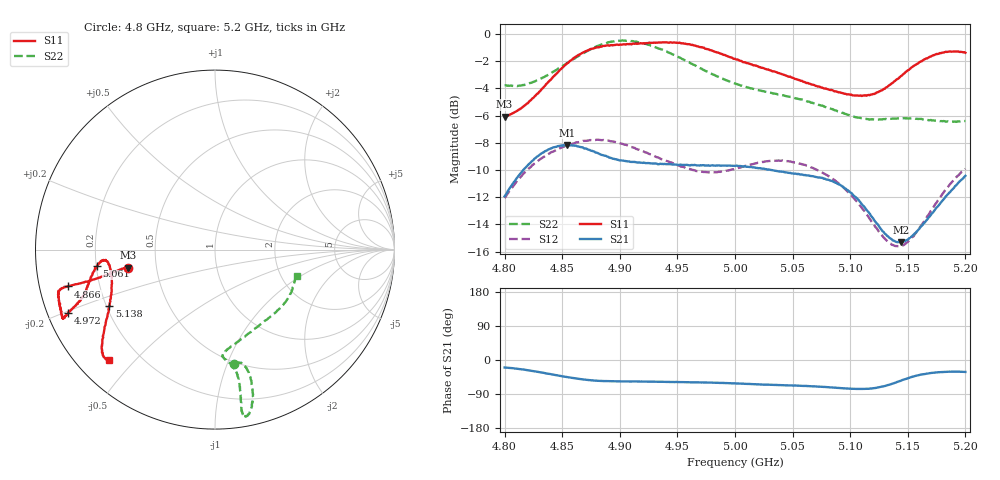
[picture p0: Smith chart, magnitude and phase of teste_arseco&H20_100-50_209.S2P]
! Network Analyzer HP8722D
! Hewlett-Packard
! Data name: Linha & Wilkinson
! Saver's name: Rodrigo Anjos
! Comments: Teste da utilização de aquisição
! continua pelo VNA HP8722D
! Time and date: 6/5/2025 14:18
!  Frequency  S11  S21  S12  S22
# HZ  S  MA R 50
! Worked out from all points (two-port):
!   401 points, 4.8 GHz to 5.2 GHz, reference 50 ohm
!   highest |S21| = -8.16 dB at 4.854 GHz (marker M1); lowest = -15.3 dB at 5.144 GHz (marker M2)
!   |S21| within 3 dB of the highest: 4.806 GHz to 5.092 GHz (286.4 MHz wide, 5.79 % of centre); 5.19159 GHz to end of sweep
!   lowest |S11| = -6.1 dB at 4.8 GHz (marker M3), VSWR 2.97, Z = 17 - j4.57 ohm
!   |S11| at or under -10 dB: nowhere
!   |S22| runs from -6.5 to -0.5 dB; largest |S21 - S12| = 0.62
!   S11 on the Smith chart (normalised r, x): 4.8 GHz: 0.34, -0.09; 4.866 GHz: 0.09, -0.12; 4.972 GHz: 0.06, -0.21; 5.061 GHz: 0.20, -0.07; 5.138 GHz: 0.21, -0.24; 5.2 GHz: 0.09, -0.42
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4.8e9  0.4968 -168.2  0.253 -19.8  0.2493 -141.0  0.6471 -80.4
4.828e9  0.601 -167.2  0.3536 -30.9  0.339 -145.0  0.6754 -75.4
4.854e9  0.7776 -166.0  0.391 -45.1  0.3893 -149.9  0.7791 -74.8
4.866e9  0.844 -165.9  0.3839 -50.4  0.402 -152.0  0.8379 -75.4
4.867e9  0.8498 -166.0  0.3835 -50.9  0.4026 -152.2  0.8427 -75.5
4.886e9  0.903 -165.1  0.3578 -55.5  0.4073 -155.3  0.9202 -77.6
4.901e9  0.9122 -162.5  0.343 -56.4  0.3954 -156.8  0.9444 -79.3
4.934e9  0.9297 -156.6  0.3322 -57.6  0.3503 -155.8  0.882 -80.5
4.972e9  0.8908 -156.5  0.3292 -59.1  0.311 -146.4  0.7386 -79.8
5e9  0.8097 -159.1  0.3273 -61.9  0.3197 -137.3  0.6567 -81.3
5.036e9  0.7231 -165.6  0.3138 -66.0  0.3423 -134.5  0.6015 -85.7
5.061e9  0.6636 -172.0  0.303 -68.4  0.33 -136.4  0.5691 -84.0
5.067e9  0.6504 -173.1  0.3002 -69.3  0.3225 -136.8  0.5587 -82.6
5.087e9  0.6145 -174.5  0.2841 -73.2  0.2891 -138.7  0.5231 -74.8
5.103e9  0.5942 -171.5  0.2546 -76.1  0.2495 -138.7  0.4969 -65.2
5.117e9  0.5953 -164.9  0.2184 -75.4  0.2089 -135.0  0.4841 -55.0
5.134e9  0.648 -154.4  0.1781 -65.1  0.1705 -120.8  0.4869 -43.3
5.138e9  0.6672 -152.0  0.1737 -61.1  0.167 -115.4  0.4885 -40.8
5.144e9  0.6991 -148.9  0.1715 -54.6  0.1662 -107.4  0.489 -37.4
5.155e9  0.761 -144.2  0.1829 -43.6  0.1804 -94.0  0.4884 -31.9
5.174e9  0.8398 -138.6  0.2273 -33.0  0.2372 -80.5  0.4799 -23.8
5.2e9  0.852 -133.8  0.3009 -31.5  0.3195 -77.0  0.4784 -17.6
